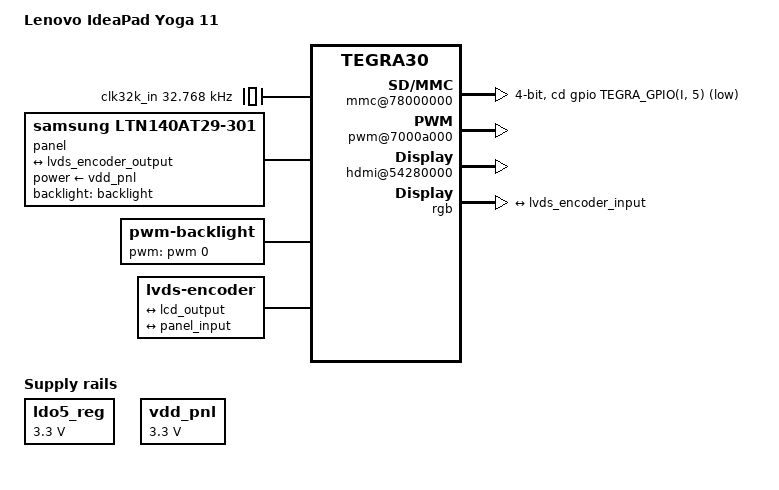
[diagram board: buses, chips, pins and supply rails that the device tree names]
// SPDX-License-Identifier: GPL-2.0

/dts-v1/;

#include <dt-bindings/input/input.h>
#include "tegra30.dtsi"

/ {
	model = "Lenovo IdeaPad Yoga 11";
	compatible = "lenovo,ideapad-yoga-11", "nvidia,tegra30";
	
	aliases {
		mmc1 = &sdmmc1; /* uSD slot */
	};
	
	/* clock from PMIC */
	clk32k_in: clock@0 {
		compatible = "fixed-clock";
		clock-frequency = <32768>;
		#clock-cells = <0>;
	};
	
	mmc@78000000 {
		status = "okay";
		vqmmc-supply = <&ldo5_reg>;
		bus-width = <4>;
		power-gpios = <&gpio TEGRA_GPIO(D, 7) GPIO_ACTIVE_HIGH>;
		cd-gpios = <&gpio TEGRA_GPIO(I, 5) GPIO_ACTIVE_LOW>;
		//wp-gpios = <&gpio TEGRA_GPIO(T, 3) GPIO_ACTIVE_HIGH>;
	};

	ldo5_reg: tps65911-ldo5 {
		compatible = "regulator-fixed";
		regulator-name = "vddio_sdmmc";
		regulator-min-microvolt = <3300000>;
		regulator-max-microvolt = <3300000>;
		regulator-always-on;
	};
	
	pinmux@70000868 {
		pinctrl-names = "default";
		pinctrl-0 = <&state_default>;

		state_default: pinmux {
			/* HDMI HOTPLUG_DETECT */
			/*hdmi-int-pn7 {
				nvidia,pins = "hdmi_int_pn7";
				nvidia,function = "hdmi";
				nvidia,pull = <TEGRA_PIN_PULL_NONE>;
				nvidia,tristate = <TEGRA_PIN_ENABLE>;
				nvidia,enable-input = <TEGRA_PIN_ENABLE>;
			};*/
			
			/* Backlight PWM */
			/*gmi-ad8-ph0 {
				nvidia,pins = "gmi_ad8_ph0";
				nvidia,function = "pwm0";
				nvidia,pull = <TEGRA_PIN_PULL_NONE>;
				nvidia,tristate = <TEGRA_PIN_DISABLE>;
				nvidia,enable-input = <TEGRA_PIN_DISABLE>;
			};*/
		};
	};

	panel: display-panel {
		compatible = "samsung,ltn140at29-301";

		power-supply = <&vdd_pnl>;
		backlight = <&backlight>;

		port {
			panel_input: endpoint {
				remote-endpoint = <&lvds_encoder_output>;
			};
		};
	};

	vdd_pnl: vdd-panel {
		compatible = "regulator-fixed";
		regulator-name = "vdd_panel";
		regulator-min-microvolt = <3300000>;
		regulator-max-microvolt = <3300000>;
		regulator-boot-on;
		regulator-always-on;
		//gpio = <&gpio TEGRA_GPIO(L, 4) GPIO_ACTIVE_HIGH>;
		enable-active-high;
	};

	backlight: backlight {
		compatible = "pwm-backlight";
		//enable-gpios = <&gpio TEGRA_GPIO(H, 2) GPIO_ACTIVE_HIGH>;
		pwms = <&pwm 0 50000>;
		brightness-levels = <1 255>;
		num-interpolated-steps = <254>;
		default-brightness-level = <128>;
	};

	pwm@7000a000 {
		status = "okay";
	};

	host1x@50000000 {
		hdmi@54280000 {
			status = "okay";
			//nvidia,ddc-i2c-bus = <&hdmi_ddc>;
			nvidia,hpd-gpio = <&gpio TEGRA_GPIO(N, 7) GPIO_ACTIVE_HIGH>;
		};

		dc@54200000 {
			rgb {
				status = "okay";

				port@0 {
					lcd_output: endpoint {
						remote-endpoint = <&lvds_encoder_input>;
						bus-width = <24>;
					};
				};
			};
		};
	};

	lvds-encoder {
		compatible = "lvds-encoder";

		//powerdown-gpios = <&gpio TEGRA_GPIO(C, 1) GPIO_ACTIVE_LOW>;

		ports {
			#address-cells = <1>;
			#size-cells = <0>;

			port@0 {
				reg = <0>;

				lvds_encoder_input: endpoint {
					remote-endpoint = <&lcd_output>;
				};
			};

			port@1 {
				reg = <1>;

				lvds_encoder_output: endpoint {
					remote-endpoint = <&panel_input>;
				};
			};
		};
	};
};
